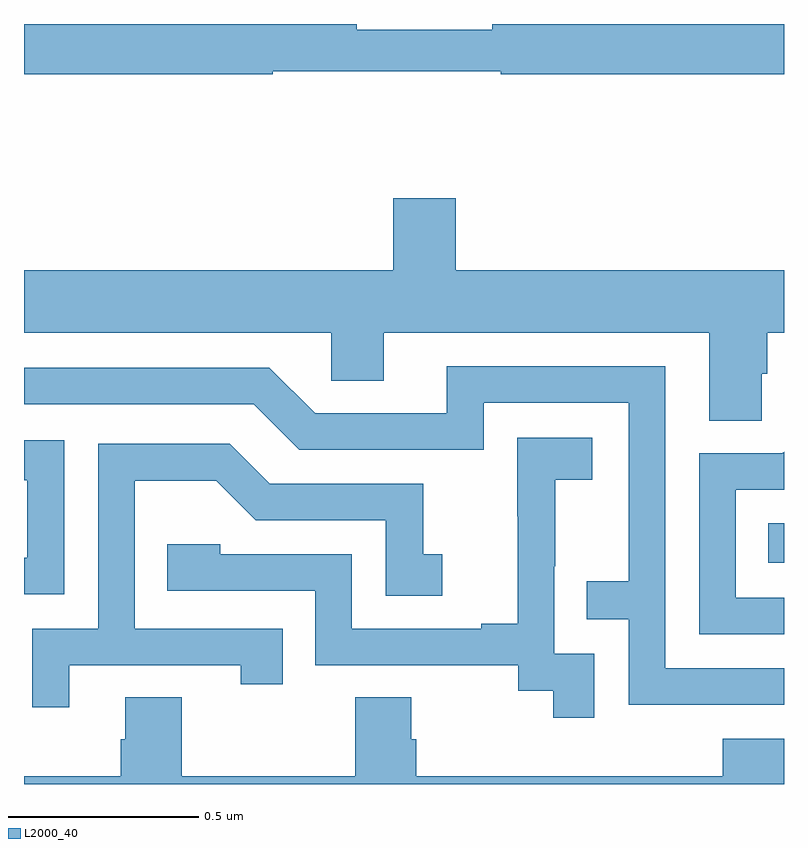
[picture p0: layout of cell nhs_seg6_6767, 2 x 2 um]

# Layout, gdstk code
import gdstk
lib = gdstk.Library(unit=1e-6, precision=1e-09)
def R(c, l, rs):  # rectangles x0, y0, x1, y1
    for r in rs: c.add(gdstk.rectangle(r[:2], r[2:], *l))
def P(c, l, *ps):  # polygons
    for p in ps: c.add(gdstk.Polygon(p, *l))
L2000_40 = (2000, 40)

nhs_seg6_6767 = lib.new_cell('nhs_seg6_6767')
R(nhs_seg6_6767, L2000_40, [(201.958,928.082,202,928.186)])
P(nhs_seg6_6767, L2000_40, [(200.655,929.376),(201.255,929.376),(201.255,929.368),(202,929.368),(202,929.5),(201.232,929.5),(201.232,929.485),(200.876,929.485),(200.876,929.5),(200,929.5),(200,929.368),(200.655,929.368)],
  [(201.942,928.579),(201.956,928.579),(201.956,928.688),(202,928.688),(202,928.852),(201.136,928.852),(201.136,929.041),(200.972,929.041),(200.972,928.852),(200,928.852),(200,928.688),(200.808,928.688),(200.808,928.561),(200.947,928.561),(200.947,928.688),(201.803,928.688),(201.803,928.456),(201.942,928.456)],
  [(202,927.804),(201.687,927.804),(201.687,928.599),(201.113,928.599),(201.113,928.476),(200.766,928.476),(200.646,928.596),(200,928.596),(200,928.5),(200.604,928.5),(200.724,928.38),(201.21,928.38),(201.21,928.503),(201.591,928.503),(201.591,928.034),(201.481,928.034),(201.481,927.933),(201.591,927.933),(201.591,927.708),(202,927.708)],
  [(201.501,927.843),(201.396,927.843),(201.396,928.073),(201.398,928.073),(201.398,928.301),(201.496,928.301),(201.496,928.411),(201.298,928.411),(201.298,928.205),(201.299,928.205),(201.299,927.922),(201.203,927.922),(201.203,927.909),(200.862,927.909),(200.862,928.104),(200.517,928.104),(200.517,928.131),(200.377,928.131),(200.377,928.008),(200.766,928.008),(200.766,927.813),(201.3,927.813),(201.3,927.745),(201.393,927.745),(201.393,927.675),(201.501,927.675)],
  [(200.106,928.405),(200,928.405),(200,928.299),(200.009,928.299),(200.009,928.095),(200,928.095),(200,927.999),(200.106,927.999)],
  [(200.119,927.813),(200.57,927.813),(200.57,927.762),(200.681,927.762),(200.681,927.909),(200.292,927.909),(200.292,928.298),(200.506,928.298),(200.61,928.194),(200.952,928.194),(200.952,927.996),(201.1,927.996),(201.1,928.105),(201.051,928.105),(201.051,928.29),(200.647,928.29),(200.542,928.395),(200.196,928.395),(200.196,927.909),(200.022,927.909),(200.022,927.702),(200.119,927.702)],
  [(202,927.99),(201.873,927.99),(201.873,928.275),(202,928.275),(202,928.375),(201.996,928.371),(201.777,928.371),(201.777,927.894),(202,927.894)],
  [(202,927.619),(201.839,927.619),(201.839,927.52),(201.032,927.52),(201.032,927.618),(201.019,927.618),(201.019,927.728),(200.872,927.728),(200.872,927.52),(200.415,927.52),(200.415,927.728),(200.267,927.728),(200.267,927.618),(200.255,927.618),(200.255,927.52),(200,927.52),(200,927.5),(202,927.5)])

lib.write_gds('nhs_seg6_6767.gds')
